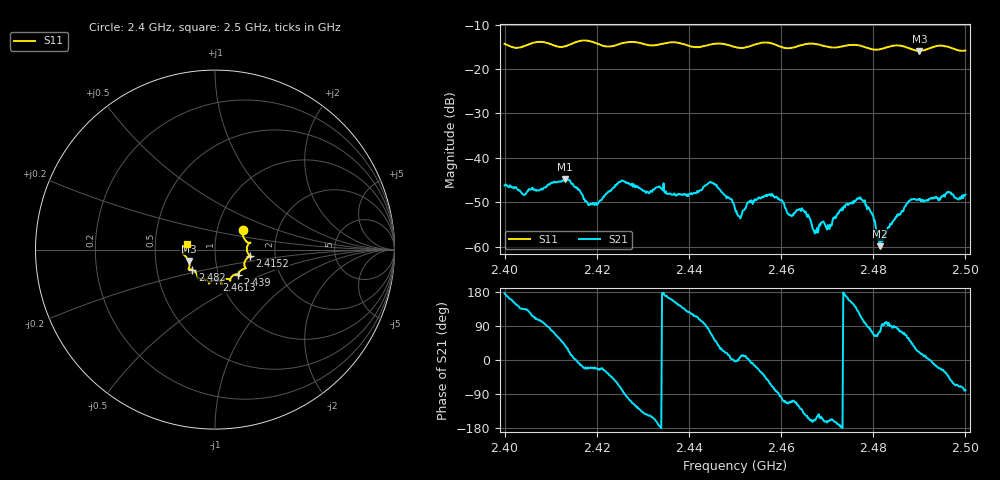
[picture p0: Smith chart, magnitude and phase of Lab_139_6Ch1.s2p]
# Hz S RI R 50
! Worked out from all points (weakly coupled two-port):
!   601 points, 2.4 GHz to 2.5 GHz, reference 50 ohm
!   highest |S21| = -44.79 dB at 2.413 GHz (marker M1); lowest = -59.8 dB at 2.4815 GHz (marker M2)
!   lowest |S11| = -15.9 dB at 2.49 GHz (marker M3), VSWR 1.38, Z = 36.9 - j4.82 ohm
!   |S11| at or under -10 dB: start of sweep to end of sweep
!   S12 and S22 are empty: the file has one direction only
!   S11 on the Smith chart (normalised r, x): 2.4 GHz: 1.33, +0.31; 2.4152 GHz: 1.48, -0.11; 2.439 GHz: 1.24, -0.36; 2.4613 GHz: 0.96, -0.34; 2.482 GHz: 0.76, -0.17; 2.5 GHz: 0.73, +0.05
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2.4e9  0.1558 0.1116  -0.00489 0.000305  0 0  0 0
2.404167e9  0.1738 0.0464  -0.00266 0.00277  0 0  0 0
2.413e9  0.1792 -0.00973  0.00436 0.00376  0 0  0 0
2.415167e9  0.1947 -0.0362  0.00475 0.000274  0 0  0 0
2.416667e9  0.2042 -0.042  0.00383 -0.001  0 0  0 0
2.419833e9  0.1911 -0.0408  0.0029 -0.00117  0 0  0 0
2.425167e9  0.1662 -0.0967  0.00154 -0.00516  0 0  0 0
2.433333e9  0.1324 -0.1324  -0.00466 -0.000759  0 0  0 0
2.439e9  0.1282 -0.1391  -0.00272 0.00276  0 0  0 0
2.444833e9  0.0842 -0.17  0.00194 0.00491  0 0  0 0
2.45e9  0.0683 -0.163  0.00267 -0.000154  0 0  0 0
2.457667e9  0.0402 -0.1917  0.00177 -0.00342  0 0  0 0
2.461333e9  0.00779 -0.1708  -0.000924 -0.00223  0 0  0 0
2.466667e9  -0.0332 -0.1904  -0.00165 -0.000657  0 0  0 0
2.4705e9  -0.0479 -0.1695  -0.0015 -0.000526  0 0  0 0
2.477e9  -0.0958 -0.1569  -0.00178 0.00298  0 0  0 0
2.4795e9  -0.1037 -0.1323  0.000567 0.00237  0 0  0 0
2.4815e9  -0.1214 -0.1143  0.000272 0.00098  0 0  0 0
2.482e9  -0.1266 -0.112  -9.79e-05 0.00116  0 0  0 0
2.483333e9  -0.1396 -0.1099  -0.000231 0.00165  0 0  0 0
2.49e9  -0.1466 -0.0636  0.00315 0.0012  0 0  0 0
2.5e9  -0.158 0.0333  0.000683 -0.00381  0 0  0 0
